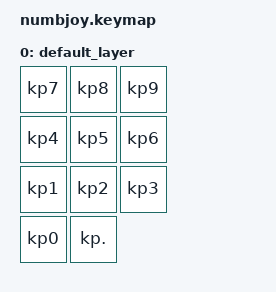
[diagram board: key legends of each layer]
// This file was generated from a template. Edit it to match your keyboard.
// See https://zmk.dev/docs/development/hardware-integration/new-shield for more instructions.

#include <behaviors.dtsi>
#include <dt-bindings/zmk/keys.h>

#define BASE 0
#define FN   1

/ {
    keymap {
        compatible = "zmk,keymap";

        default_layer {
            bindings = <
                &kp KP_N7 &kp KP_N8 &kp KP_N9
                &kp KP_N4 &kp KP_N5 &kp KP_N6
                &kp KP_N1 &kp KP_N2 &kp KP_N3
                &kp KP_N0 &kp KP_DOT
            >;
        };
    };
};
